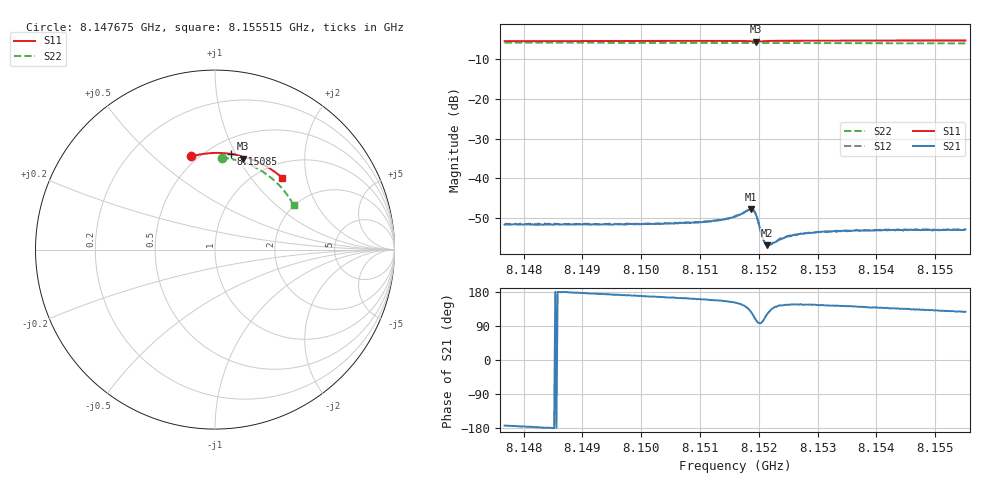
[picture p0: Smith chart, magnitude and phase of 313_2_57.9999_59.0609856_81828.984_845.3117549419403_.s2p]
#  HZ  S  RI  R  50.00
! Rohde & Schwarz Vector Network Analyzer
! Rohde-Schwarz,ZNB20-2Port,1311601062101988,3.16
! Created: UTC 3/21/2024, 1:04:17 AM
! freq[Hz]  re:S11  im:S11  re:S21  im:S21  re:S12  im:S12  re:S22  im:S22
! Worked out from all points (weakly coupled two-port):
!   401 points, 8.147675 GHz to 8.155515 GHz, reference 50 ohm
!   highest |S21| = -47.75 dB at 8.151869 GHz (marker M1); lowest = -56.8 dB at 8.152144 GHz (marker M2)
!   lowest |S11| = -5.5 dB at 8.151948 GHz (marker M3), VSWR 3.25, Z = 37.2 + j52.4 ohm
!   |S11| at or under -10 dB: nowhere
!   |S22| runs from -6.0 to -5.8 dB; largest |S21 - S12| = 0.00013
!   S11 on the Smith chart (normalised r, x): 8.147675 GHz: 0.46, +0.67; 8.15085 GHz: 0.63, +0.96; 8.155515 GHz: 1.27, +1.45
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8.1476752e9  -0.1318 0.5189  -0.0026 -0.000322  -0.00269 -0.000302  0.0371 0.5126
8.1489883e9  -0.0418 0.536  -0.00263 0.000143  -0.00269 0.000196  0.1215 0.4977
8.1503014e9  0.0496 0.5375  -0.0026 0.000621  -0.00262 0.000666  0.2016 0.4693
8.1508502e9  0.0879 0.5335  -0.00263 0.000876  -0.00265 0.000926  0.2332 0.4536
8.1513205e9  0.1209 0.5275  -0.00273 0.00118  -0.00273 0.00125  0.2594 0.4384
8.1515949e9  0.1407 0.5221  -0.0029 0.00157  -0.00291 0.00161  0.2742 0.4288
8.1518105e9  0.1562 0.5135  -0.00288 0.00271  -0.00285 0.00277  0.2855 0.4207
8.1518693e9  0.1586 0.5093  -0.00243 0.0033  -0.0024 0.00334  0.2884 0.4185
8.1519085e9  0.1586 0.5068  -0.00178 0.00354  -0.00177 0.00358  0.2904 0.417
8.1519477e9  0.1573 0.5059  -0.000996 0.00342  -0.000943 0.00346  0.2923 0.4156
8.1519869e9  0.1568 0.5074  -0.000439 0.00287  -0.00038 0.0029  0.2942 0.4142
8.1520653e9  0.1606 0.511  -0.000361 0.00172  -0.000356 0.00175  0.2981 0.4114
8.1521045e9  0.1638 0.5118  -0.00056 0.00141  -0.000559 0.00144  0.3002 0.41
8.1521437e9  0.1671 0.5123  -0.000743 0.00123  -0.000713 0.00121  0.3023 0.4084
8.1521829e9  0.1704 0.5121  -0.000911 0.00115  -0.000905 0.00115  0.3043 0.407
8.1523789e9  0.1854 0.5093  -0.00138 0.00101  -0.00141 0.00105  0.3142 0.3991
8.1524965e9  0.1938 0.5067  -0.00155 0.00105  -0.00156 0.00107  0.3198 0.3943
8.1526924e9  0.2072 0.5021  -0.00166 0.0011  -0.00166 0.00111  0.3292 0.386
8.152908e9  0.2214 0.4965  -0.00171 0.00116  -0.00171 0.0012  0.3393 0.3767
8.1536528e9  0.2684 0.4742  -0.00173 0.0014  -0.00172 0.00141  0.3721 0.3428
8.1542211e9  0.3024 0.4542  -0.00162 0.00155  -0.00163 0.00158  0.3949 0.315
8.1555146e9  0.3732 0.4003  -0.00138 0.00182  -0.00134 0.00184  0.4384 0.2465
